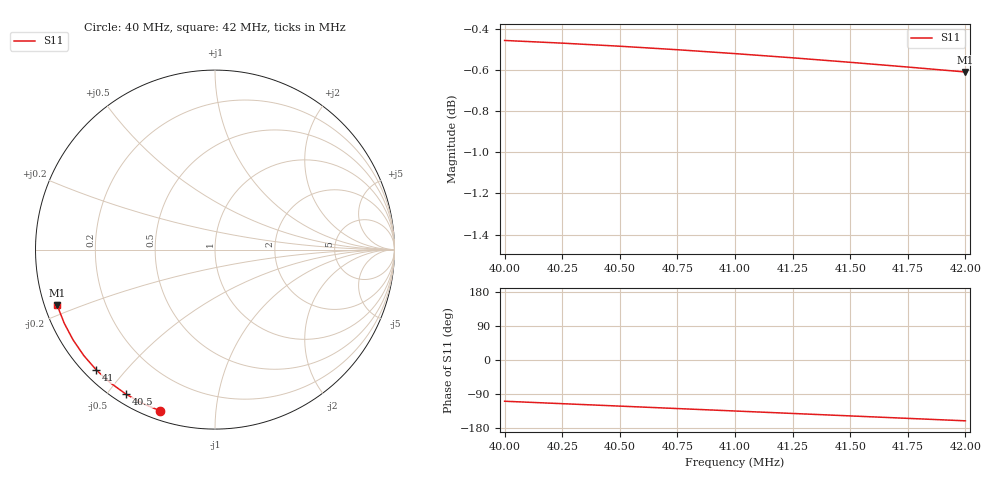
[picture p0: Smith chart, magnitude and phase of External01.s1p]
# Hz S RI R 50
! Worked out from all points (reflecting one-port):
!   9 points, 40 MHz to 42 MHz, reference 50 ohm
!   lowest |S11| = -0.6 dB at 42 MHz (marker M1), VSWR 28.52, Z = 1.81 - j8.58 ohm
!   phase of S11 starts at -109 deg and turns -52 deg over the sweep
!   S11 on the Smith chart (normalised r, x): 40 MHz: 0.04, -0.71; 40.5 MHz: 0.04, -0.56; 41 MHz: 0.04, -0.42; 42 MHz: 0.04, -0.17
4e7  -0.3062 -0.8981
4.025e7  -0.4041 -0.8569
4.05e7  -0.4967 -0.8049
4.075e7  -0.5828 -0.7425
4.1e7  -0.6612 -0.6708
4.125e7  -0.7308 -0.5907
4.15e7  -0.7908 -0.5032
4.175e7  -0.8403 -0.4096
4.2e7  -0.8788 -0.3111
